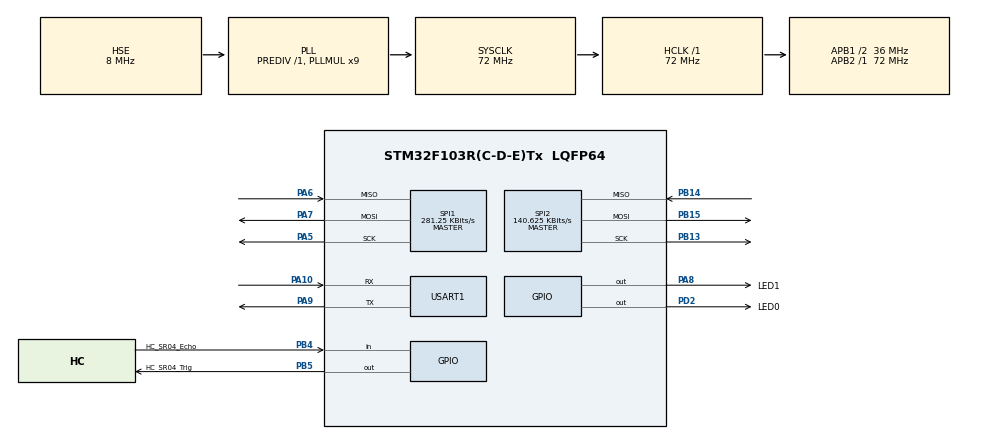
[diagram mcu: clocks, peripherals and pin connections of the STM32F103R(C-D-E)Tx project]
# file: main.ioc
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Mcu.Family=STM32F1
Mcu.Name=STM32F103R(C-D-E)Tx
Mcu.Package=LQFP64
NVIC.PriorityGroup=NVIC_PRIORITYGROUP_4
NVIC.USART1_IRQn=true\:0\:0\:false\:false\:true\:true\:true\:true
PA10.Mode=Asynchronous
PA10.Signal=USART1_RX
PA13.Mode=Serial_Wire
PA13.Signal=SYS_JTMS-SWDIO
PA14.Mode=Serial_Wire
PA14.Signal=SYS_JTCK-SWCLK
PA5.Mode=Full_Duplex_Master
PA5.Signal=SPI1_SCK
PA6.Mode=Full_Duplex_Master
PA6.Signal=SPI1_MISO
PA7.Mode=Full_Duplex_Master
PA7.Signal=SPI1_MOSI
PA8.GPIO_Label=LED1
PA8.GPIO_ModeDefaultOutputPP=GPIO_MODE_OUTPUT_PP
PA8.GPIO_PuPd=GPIO_PULLUP
PA8.GPIO_Speed=GPIO_SPEED_FREQ_HIGH
PA8.PinState=GPIO_PIN_SET
PA8.Signal=GPIO_Output
PA9.Mode=Asynchronous
PA9.Signal=USART1_TX
PB13.Mode=Full_Duplex_Master
PB13.Signal=SPI2_SCK
PB14.Mode=Full_Duplex_Master
PB14.Signal=SPI2_MISO
PB15.Mode=Full_Duplex_Master
PB15.Signal=SPI2_MOSI
PB4.GPIO_Label=HC_SR04_Echo
PB4.Signal=GPIO_Input
PB5.GPIO_Label=HC_SR04_Trig
PB5.GPIO_PuPd=GPIO_NOPULL
PB5.PinState=GPIO_PIN_RESET
PB5.Signal=GPIO_Output
PC14-OSC32_IN.Mode=LSE-External-Oscillator
PC14-OSC32_IN.Signal=RCC_OSC32_IN
PC15-OSC32_OUT.Mode=LSE-External-Oscillator
PC15-OSC32_OUT.Signal=RCC_OSC32_OUT
PD0-OSC_IN.Mode=HSE-External-Oscillator
PD0-OSC_IN.Signal=RCC_OSC_IN
PD1-OSC_OUT.Mode=HSE-External-Oscillator
PD1-OSC_OUT.Signal=RCC_OSC_OUT
PD2.GPIO_Label=LED0
PD2.GPIO_PuPd=GPIO_PULLUP
PD2.GPIO_Speed=GPIO_SPEED_FREQ_HIGH
PD2.PinState=GPIO_PIN_SET
PD2.Signal=GPIO_Output
ProjectManager.HeapSize=0x200
ProjectManager.StackSize=0x400
ProjectManager.TargetToolchain=STM32CubeIDE
RCC.AHBFreq_Value=72000000
RCC.APB1CLKDivider=RCC_HCLK_DIV2
RCC.APB1Freq_Value=36000000
RCC.APB1TimFreq_Value=72000000
RCC.APB2Freq_Value=72000000
RCC.APB2TimFreq_Value=72000000
RCC.HCLKFreq_Value=72000000
RCC.PLLMUL=RCC_PLL_MUL9
RCC.PLLSourceVirtual=RCC_PLLSOURCE_HSE
RCC.SYSCLKFreq_VALUE=72000000
RCC.SYSCLKSource=RCC_SYSCLKSOURCE_PLLCLK
RCC.USBFreq_Value=72000000
SPI1.BaudRatePrescaler=SPI_BAUDRATEPRESCALER_256
SPI1.CalculateBaudRate=281.25 KBits/s
SPI1.Direction=SPI_DIRECTION_2LINES
SPI1.Mode=SPI_MODE_MASTER
SPI1.VirtualType=VM_MASTER
SPI2.BaudRatePrescaler=SPI_BAUDRATEPRESCALER_256
SPI2.CalculateBaudRate=140.625 KBits/s
SPI2.Direction=SPI_DIRECTION_2LINES
SPI2.Mode=SPI_MODE_MASTER
SPI2.VirtualType=VM_MASTER
USART1.VirtualMode=VM_ASYNC
board=custom

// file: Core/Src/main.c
/* USER CODE BEGIN Header */
/**
  ******************************************************************************
  * @file           : main.c
  * @brief          : Main program body
  ******************************************************************************
  * @attention
  *
  * Copyright (c) 2023 STMicroelectronics.
  * All rights reserved.
  *
  * This software is licensed under terms that can be found in the LICENSE file
  * in the root directory of this software component.
  * If no LICENSE file comes with this software, it is provided AS-IS.
  *
  ******************************************************************************
  */
/* USER CODE END Header */
#include <stdio.h>
#include "main.h"
#include "spi.h"
#include "usart.h"
#include "gpio.h"

/* USER CODE BEGIN Includes */
#include "delay.h"
#include "w25qxx.h"
#include "oled.h"
#include "fontupd.h"
#include "text.h"
#include "gui.h"
#include "hc-sr04.h"
#include "MPU6050.h"
#include "inv_mpu.h"
/* USER CODE END Includes */

void SystemClock_Config(void);

/* USER CODE BEGIN 0 */
//串口1发送1个字符
//c:要发送的字符
void usart1_send_char(u8 c) {
    while (__HAL_UART_GET_FLAG(&UART1_Handler, UART_FLAG_TC) == RESET) {}; //循环发送,直到发送完毕

    HAL_UART_Transmit(&UART1_Handler, &c, 1, 1000);
}

//传送数据给匿名四轴上位机软件(V2.6版本)
//fun:功能字. 0XA0~0XAF
//data:数据缓存区,最多28字节!!
//len:data区有效数据个数
void usart1_niming_report(u8 fun, u8 *data, u8 len) {
    u8 send_buf[32];
    u8 i;

    if (len > 28)return;    //最多28字节数据

    send_buf[len + 3] = 0;    //校验数置零
    send_buf[0] = 0X88;    //帧头
    send_buf[1] = fun;    //功能字
    send_buf[2] = len;    //数据长度

    for (i = 0; i < len; i++)send_buf[3 + i] = data[i];            //复制数据

    for (i = 0; i < len + 3; i++)send_buf[len + 3] += send_buf[i];    //计算校验和

    for (i = 0; i < len + 4; i++)usart1_send_char(send_buf[i]);    //发送数据到串口1
}

//发送加速度传感器数据和陀螺仪数据
//aacx,aacy,aacz:x,y,z三个方向上面的加速度值
//gyrox,gyroy,gyroz:x,y,z三个方向上面的陀螺仪值
void mpu6050_send_data(short aacx, short aacy, short aacz, short gyrox, short gyroy, short gyroz) {
    printf("aacx:%d\r\n", aacx);
    printf("aacy:%d\r\n", aacy);
    printf("aacz:%d\r\n", aacz);
    printf("gyrox:%d\r\n", gyrox);
    printf("gyroy:%d\r\n", gyroy);
    printf("gyroz:%d\r\n", gyroz);

    u8 tbuf[12];
    tbuf[0] = (aacx >> 8) & 0XFF;
    tbuf[1] = aacx & 0XFF;
    tbuf[2] = (aacy >> 8) & 0XFF;
    tbuf[3] = aacy & 0XFF;
    tbuf[4] = (aacz >> 8) & 0XFF;
    tbuf[5] = aacz & 0XFF;
    tbuf[6] = (gyrox >> 8) & 0XFF;
    tbuf[7] = gyrox & 0XFF;
    tbuf[8] = (gyroy >> 8) & 0XFF;
    tbuf[9] = gyroy & 0XFF;
    tbuf[10] = (gyroz >> 8) & 0XFF;
    tbuf[11] = gyroz & 0XFF;
    usart1_niming_report(0XA1, tbuf, 12); //自定义帧,0XA1
}

//通过串口1上报结算后的姿态数据给电脑
//aacx,aacy,aacz:x,y,z三个方向上面的加速度值
//gyrox,gyroy,gyroz:x,y,z三个方向上面的陀螺仪值
//roll:横滚角.单位0.01度。 -18000 -> 18000 对应 -180.00  ->  180.00度
//pitch:俯仰角.单位 0.01度。-9000 - 9000 对应 -90.00 -> 90.00 度
//yaw:航向角.单位为0.1度 0 -> 3600  对应 0 -> 360.0度
void
usart1_report_imu(short aacx, short aacy, short aacz, short gyrox, short gyroy, short gyroz, short roll, short pitch,
                  short yaw) {

    u8 tbuf[28];
    u8 i;

    for (i = 0; i < 28; i++)tbuf[i] = 0; //清0

    tbuf[0] = (aacx >> 8) & 0XFF;
    tbuf[1] = aacx & 0XFF;
    tbuf[2] = (aacy >> 8) & 0XFF;
    tbuf[3] = aacy & 0XFF;
    tbuf[4] = (aacz >> 8) & 0XFF;
    tbuf[5] = aacz & 0XFF;
    tbuf[6] = (gyrox >> 8) & 0XFF;
    tbuf[7] = gyrox & 0XFF;
    tbuf[8] = (gyroy >> 8) & 0XFF;
    tbuf[9] = gyroy & 0XFF;
    tbuf[10] = (gyroz >> 8) & 0XFF;
    tbuf[11] = gyroz & 0XFF;
    tbuf[18] = (roll >> 8) & 0XFF;
    tbuf[19] = roll & 0XFF;
    tbuf[20] = (pitch >> 8) & 0XFF;
    tbuf[21] = pitch & 0XFF;
    tbuf[22] = (yaw >> 8) & 0XFF;
    tbuf[23] = yaw & 0XFF;
    usart1_niming_report(0XAF, tbuf, 28); //飞控显示帧,0XAF
}
/* USER CODE END 0 */

int main(void) {
    /* USER CODE BEGIN 1 */
    float Distance;
    /* USER CODE END 1 */

    /* MCU Configuration--------------------------------------------------------*/

    /* Reset of all peripherals, Initializes the Flash interface and the Systick. */
    HAL_Init();

    /* USER CODE BEGIN Init */
    delay_init(72);                    //初始化延时函数

    /* USER CODE END Init */

    /* Configure the system clock */
    SystemClock_Config();

    /* Initialize all configured peripherals */
    MX_GPIO_Init();
    MX_USART1_UART_Init();
    MX_SPI1_Init();
    MX_SPI2_Init();
    /* USER CODE BEGIN 2 */
    u16 i = 0;
    W25QXX_Init();
    LCD_Init();                            //液晶屏初始化
    LCD_Clear(BLACK);                    //清屏
    POINT_COLOR = RED;            //设置字体为蓝色
    font_init();

    u8 t = 0, report = 1;            //默认开启上报
    u8 key;
    float pitch, roll, yaw;        //欧拉角
    short aacx, aacy, aacz;        //加速度传感器原始数据
    short gyrox, gyroy, gyroz;    //陀螺仪原始数据
    short temp;                    //温度
    MPU_Init();                            //初始化MPU6050
    while (mpu_dmp_init()) {
        printf("MPU6050 Error\r\n");
        delay_ms(200);
    }
    /* USER CODE END 2 */

    /* Infinite loop */
    while (1) {

        /* USER CODE BEGIN 3 */
        if (mpu_dmp_get_data(&pitch, &roll, &yaw) == 0) {
            temp = MPU_Get_Temperature();    //得到温度值
            printf("temp:%d\r\n", temp);
            MPU_Get_Accelerometer(&aacx, &aacy, &aacz);    //得到加速度传感器数据
            MPU_Get_Gyroscope(&gyrox, &gyroy, &gyroz);    //得到陀螺仪数据

            if (report)mpu6050_send_data(aacx, aacy, aacz, gyrox, gyroy, gyroz); //用自定义帧发送加速度和陀螺仪原始数据

            if (report)
                usart1_report_imu(aacx, aacy, aacz, gyrox, gyroy, gyroz, (int) (roll * 100), (int) (pitch * 100),
                                  (int) (yaw * 10));

            if ((t % 10) == 0) {
                if (temp < 0) {

                    Show_Str(30 + 48, 180, WHITE, BLACK, "-", 16, 0);        //显示负号
                    temp = -temp;        //转为正数
                } else Show_Str(30 + 48, 200, WHITE, BLACK, (u8 *) ' ', 16, 0);           //去掉负号

                LCD_ShowNum(30 + 48 + 8, 200, temp / 100, 3, 16);        //显示整数部分
                printf("整数部分:%d\r\n", temp / 100);
                LCD_ShowNum(30 + 48 + 40, 200, temp % 10, 1, 16);        //显示小数部分
                printf("小数部分:%d\r\n", temp % 10);
                temp = pitch * 10;

                if (temp < 0) {
                    Show_Str(30 + 48, 180, WHITE, BLACK, "-", 16, 0);        //显示负号
                    temp = -temp;        //转为正数
                } else Show_Str(30 + 48, 200, WHITE, BLACK, (u8 *) ' ', 16, 0);      //去掉负号

                LCD_ShowNum(30 + 48 + 8, 220, temp / 10, 3, 16);        //显示整数部分
                LCD_ShowNum(30 + 48 + 40, 220, temp % 10, 1, 16);        //显示小数部分
                temp = roll * 10;

                if (temp < 0) {
                    Show_Str(30 + 48, 180, WHITE, BLACK, "-", 16, 0);        //显示负号
                    temp = -temp;        //转为正数
                } else Show_Str(30 + 48, 200, WHITE, BLACK, (u8 *) ' ', 16, 0);      //去掉负号

                LCD_ShowNum(30 + 48 + 8, 240, temp / 10, 3, 16);        //显示整数部分
                LCD_ShowNum(30 + 48 + 40, 240, temp % 10, 1, 16);        //显示小数部分
                temp = yaw * 10;

                if (temp < 0) {
                    Show_Str(30 + 48, 180, WHITE, BLACK, "-", 16, 0);        //显示负号
                    temp = -temp;        //转为正数
                } else Show_Str(30 + 48, 200, WHITE, BLACK, (u8 *) ' ', 16, 0);       //去掉负号

                LCD_ShowNum(30 + 48 + 8, 260, temp / 10, 3, 16);        //显示整数部分
                LCD_ShowNum(30 + 48 + 40, 260, temp % 10, 1, 16);        //显示小数部分
                t = 0;
                HAL_GPIO_TogglePin(LED1_GPIO_Port, LED1_Pin);
            }
        }

        t++;

    }
    /* USER CODE END 3 */
}

void SystemClock_Config(void) {
    RCC_OscInitTypeDef RCC_OscInitStruct = {0};
    RCC_ClkInitTypeDef RCC_ClkInitStruct = {0};

    /** Initializes the RCC Oscillators according to the specified parameters
    * in the RCC_OscInitTypeDef structure.
    */
    RCC_OscInitStruct.OscillatorType = RCC_OSCILLATORTYPE_HSE;
    RCC_OscInitStruct.HSEState = RCC_HSE_ON;
    RCC_OscInitStruct.HSEPredivValue = RCC_HSE_PREDIV_DIV1;
    RCC_OscInitStruct.HSIState = RCC_HSI_ON;
    RCC_OscInitStruct.PLL.PLLState = RCC_PLL_ON;
    RCC_OscInitStruct.PLL.PLLSource = RCC_PLLSOURCE_HSE;
    RCC_OscInitStruct.PLL.PLLMUL = RCC_PLL_MUL9;
    if (HAL_RCC_OscConfig(&RCC_OscInitStruct) != HAL_OK) {
        Error_Handler();
    }

    /** Initializes the CPU, AHB and APB buses clocks
    */
    RCC_ClkInitStruct.ClockType = RCC_CLOCKTYPE_HCLK | RCC_CLOCKTYPE_SYSCLK
                                  | RCC_CLOCKTYPE_PCLK1 | RCC_CLOCKTYPE_PCLK2;
    RCC_ClkInitStruct.SYSCLKSource = RCC_SYSCLKSOURCE_PLLCLK;
    RCC_ClkInitStruct.AHBCLKDivider = RCC_SYSCLK_DIV1;
    RCC_ClkInitStruct.APB1CLKDivider = RCC_HCLK_DIV2;
    RCC_ClkInitStruct.APB2CLKDivider = RCC_HCLK_DIV1;

    if (HAL_RCC_ClockConfig(&RCC_ClkInitStruct, FLASH_LATENCY_2) != HAL_OK) {
        Error_Handler();
    }
}

void Error_Handler(void) {
    __disable_irq();
    while (1) {
    }
}
